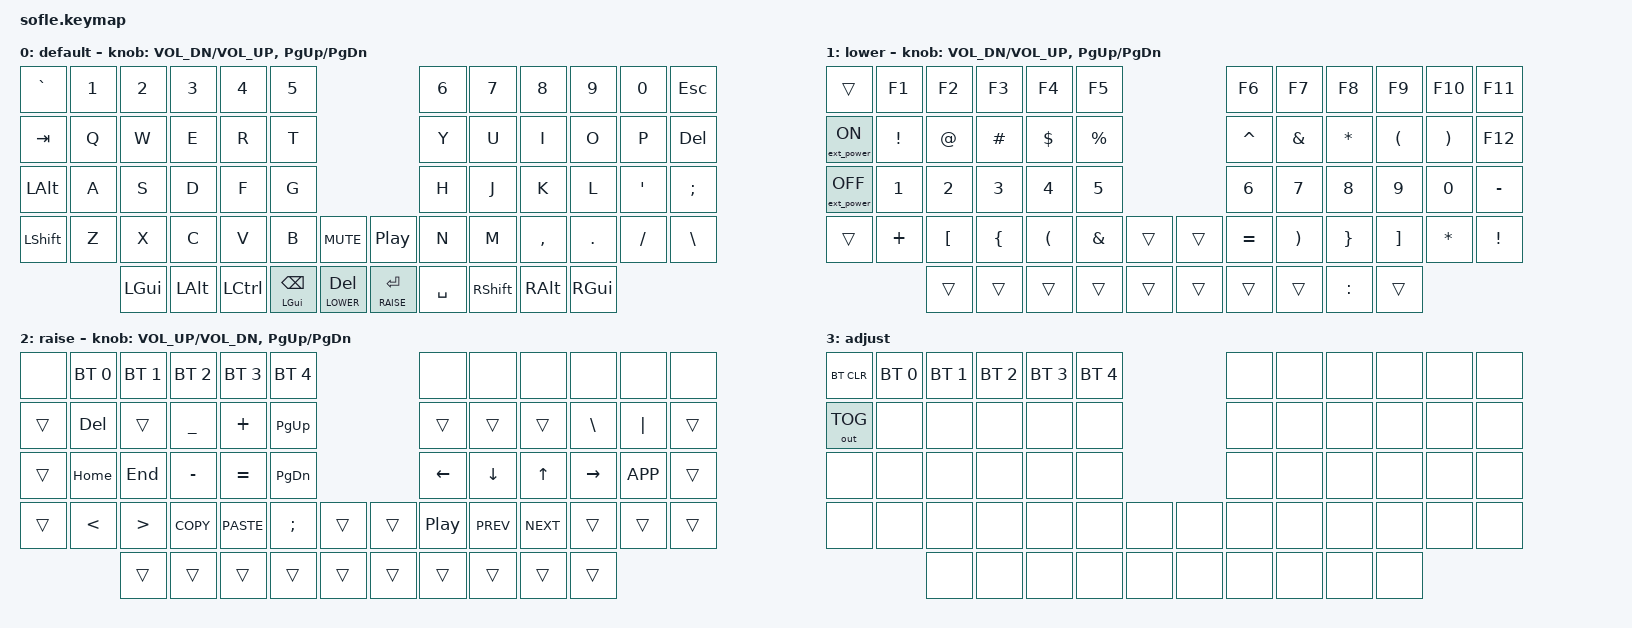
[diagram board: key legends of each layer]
/*
 * Copyright (c) 2020 The ZMK Contributors
 *
 * SPDX-License-Identifier: MIT
 */

#include <behaviors.dtsi>
#include <dt-bindings/zmk/keys.h>
#include <dt-bindings/zmk/bt.h>
#include <dt-bindings/zmk/ext_power.h>
#include <dt-bindings/zmk/outputs.h>

#define BASE 0
#define LOWER 1
#define RAISE 2
#define ADJUST 3

/ {

   // Activate ADJUST layer by pressing raise and lower
    conditional_layers {
        compatible = "zmk,conditional-layers";
        adjust_layer {
            if-layers = <LOWER RAISE>;
            then-layer = <ADJUST>;
        };
    };

    keymap {
        compatible = "zmk,keymap";

        default_layer {
            label = "default";
// ------------------------------------------------------------------------------------------------------------
// |   `   |  1  |  2  |  3   |  4   |  5      |                              |  6   |  7    |  8    |  9   |   0   |  ESC  |
// |  TAB  |  Q  |  W  |  E   |  R   |  T      |                              |  Y   |  U    |  I    |  O   |   P   | DEL   |
// |  ALT  |  A  |  S  |  D   |  F   |  G      |                              |  H   |  J    |  K    |  L   |   '   |   ;   |
// | SHIFT |  Z  |  X  |  C   |  V   |  B      |  MUTE       |  | PLAY/PAUSE  |  N   |  M    |  ,    |  .   |   /   | BSLH  |
//               | GUI | ALT  | CTRL | GUI/BKSPACE | LOWER/DEL |  | RAISE/ENTER | SPACE | SHIFT | ALT   | GUI  |
            bindings = <
&kp GRAVE &kp N1 &kp N2   &kp N3   &kp N4    &kp N5                                         &kp N6    &kp N7      &kp N8    &kp N9   &kp N0   &kp ESC
&kp TAB   &kp Q  &kp W    &kp E    &kp R     &kp T                                          &kp Y      &kp U      &kp I     &kp O    &kp P    &kp DEL
&kp LALT  &kp A  &kp S    &kp D    &kp F     &kp G                                          &kp H      &kp J      &kp K     &kp L    &kp SQT  &kp SEMI
&kp LSHFT &kp Z  &kp X    &kp C    &kp V     &kp B         &kp C_MUTE       &kp C_PP       &kp N      &kp M      &kp COMMA &kp DOT  &kp FSLH &kp BSLH
                 &kp LGUI &kp LALT &kp LCTRL &mt LGUI BSPC &lt LOWER DEL    &lt RAISE ENTER &kp SPACE &kp RSHIFT &kp RALT  &kp RGUI
            >;

            sensor-bindings = <&inc_dec_kp C_VOL_DN C_VOL_UP &inc_dec_kp PG_UP PG_DN>;
        };

        lower_layer {
            label = "lower";
// TODO: Some binds are waiting for shifted keycode support.
// ------------------------------------------------------------------------------------------------------------
// |       |  F1 |  F2 |  F3  |  F4  |  F5  |                   |  F6 |  F7 |  F8 |  F9 | F10 | F11 |
// | EPON  |  !  |  @  |  #   |  $   |  %   |                   |  ^  |  &  |  *  |  (  |  )  | F12 |
// | EPOFF |  1  |  2  |  3   |  4   |  5   |                   |  6  |  7  |  8  |  9  |  0  |  -  |
// |       |  +  |  [  |  {   |  (   |  &   |        |  |       |  =  |  )  |  }  |  ]  |  *  |  !  |
//               |     |      |      |      |        |  |       |     |  :  |       |      |
            bindings = <
&trans             &kp F1   &kp F2     &kp F3      &kp F4    &kp F5                    &kp F6    &kp F7    &kp F8   &kp F9   &kp F10  &kp F11
&ext_power EP_ON   &kp EXCL &kp AT     &kp HASH    &kp DLLR  &kp PRCNT                 &kp CARET &kp AMPS  &kp STAR &kp LPAR &kp RPAR &kp F12
&ext_power EP_OFF  &kp N1   &kp N2     &kp N3      &kp N4    &kp N5                    &kp N6    &kp N7    &kp N8   &kp N9   &kp N0   &kp MINUS
&trans             &kp PLUS &kp LBKT   &kp LBRC    &kp LPAR  &kp AMPS  &trans  &trans  &kp EQUAL &kp RPAR  &kp RBRC &kp RBKT &kp STAR &kp EXCL
                   &trans   &trans     &trans      &trans    &trans    &trans  &trans  &trans    &kp COLON &trans
            >;

            sensor-bindings = <&inc_dec_kp C_VOL_DN C_VOL_UP &inc_dec_kp PG_UP PG_DN>;
        };

        raise_layer {
            label = "raise";
// ------------------------------------------------------------------------------------------------------------
// |       | BT1  | BT2  | BT3   |  BT4  | BT5  |                |      |      |      |      |      |       |
// |       | DEL  |      |   _   |   +   | PGUP |                |      |      |      | BSLH | PIPE |       |
// |       | HOME | END  |   -   |   =   | PGDN |                |  <-  |   v  |   ^  |  ->  | APP  |       |
// |       |  <   |  >   | COPY  | PASTE |  ;   |      |  |      | ply/p| PREV | NEXT |      |      |       |
//                |      |       |       |      |      |  |      |      |      |      |      |
            bindings = <
&none &bt BT_SEL 0 &bt BT_SEL 1 &bt BT_SEL 2 &bt BT_SEL 3 &bt BT_SEL 4                 &none     &none      &none      &none     &none     &none
&trans     &kp DEL      &trans       &kp UNDER    &kp PLUS     &kp PG_UP                    &trans    &trans     &trans     &kp BSLH  &kp PIPE  &trans
&trans     &kp HOME     &kp END      &kp MINUS    &kp EQUAL    &kp PG_DN                    &kp LEFT  &kp DOWN   &kp UP     &kp RIGHT &kp K_APP &trans
&trans     &kp LT       &kp GT       &kp K_COPY   &kp K_PASTE  &kp SEMI     &trans  &trans  &kp C_PP  &kp C_PREV &kp C_NEXT &trans    &trans    &trans
                        &trans       &trans       &trans       &trans       &trans  &trans  &trans    &trans     &trans     &trans
            >;

            sensor-bindings = <&inc_dec_kp C_VOL_UP C_VOL_DN &inc_dec_kp PG_UP PG_DN>;
        };

        adjust_layer {
// ----------------------------------------------------------------------------------------------------------------------------
// | BTCLR  | BT1 | BT2 | BT3 | BT4 | BT5 |               |      |      |       |      |       |       |
// | OUTTOG |     |     |     |     |     |               |      |      |       |      |       |       |
// |        |     |     |     |     |     |               |      |      |       |      |       |       |
// |        |     |     |     |     |     |      | |      |      |      |       |      |       |       |
//                |     |     |     |     |      | |      |      |      |       |      |
            label = "adjust";
            bindings = <
&bt BT_CLR         &bt BT_SEL 0    &bt BT_SEL 1    &bt BT_SEL 2    &bt BT_SEL 3    &bt BT_SEL 4              &none &none &none &none &none &none
&out OUT_TOG &none &none           &none           &none           &none                                     &none &none &none &none &none &none
&none              &none           &none           &none           &none           &none                     &none &none &none &none &none &none
&none              &none           &none           &none           &none           &none        &none  &none &none &none &none &none &none &none
                                   &none           &none           &none           &none        &none  &none &none &none &none &none
            >;
        };

    };
};
